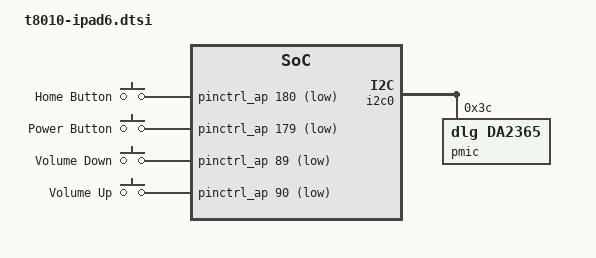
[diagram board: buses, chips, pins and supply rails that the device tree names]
// SPDX-License-Identifier: GPL-2.0+ OR MIT
/*
 * Apple iPad 6 common device tree
 *
 * Copyright (c) 2022, Konrad Dybcio <konradybcio@kernel.org>
 */

#include "t8010.dtsi"
#include "t8010-common.dtsi"
#include <dt-bindings/input/input.h>

/ {
	chassis-type = "tablet";

	gpio-keys {
		compatible = "gpio-keys";

		button-home {
			label = "Home Button";
			gpios = <&pinctrl_ap 180 GPIO_ACTIVE_LOW>;
			linux,code = <KEY_HOMEPAGE>;
			wakeup-source;
		};

		button-power {
			label = "Power Button";
			gpios = <&pinctrl_ap 179 GPIO_ACTIVE_LOW>;
			linux,code = <KEY_POWER>;
			wakeup-source;
		};

		button-voldown {
			label = "Volume Down";
			gpios = <&pinctrl_ap 89 GPIO_ACTIVE_LOW>;
			linux,code = <KEY_VOLUMEDOWN>;
		};

		button-volup {
			label = "Volume Up";
			gpios = <&pinctrl_ap 90 GPIO_ACTIVE_LOW>;
			linux,code = <KEY_VOLUMEUP>;
		};
	};
};

&framebuffer0 {
	power-domains = <&ps_disp0_fe &ps_disp0_be &ps_dp>;
};

&hurricane_opp09 {
	status = "okay";
};

&hurricane_opp10 {
	status = "okay";
};

&i2c0 {
	status = "okay";

	pmic@3c {
		compatible = "dlg,da2365", "dlg,i2c-da2xxx";
		reg = <0x3c>;
		#address-cells = <1>;
		#size-cells = <1>;

		rtc@500 {
			compatible = "dlg,da2365-rtc", "dlg,da2255-rtc";
			reg = <0x500 0x10>;
			nvmem-cells = <&rtc_offset>;
			nvmem-cell-names = "rtc_offset";
		};

		nvmem@5000 {
			compatible = "dlg,da2xxx-nvmem";
			reg = <0x5000 0x28>;

			nvmem-layout {
				compatible = "fixed-layout";
				#address-cells = <1>;
				#size-cells = <1>;

				rtc_offset: rtc-offset@4 {
					reg = <0x4 0x4>;
				};
			};
		};
	};
};
